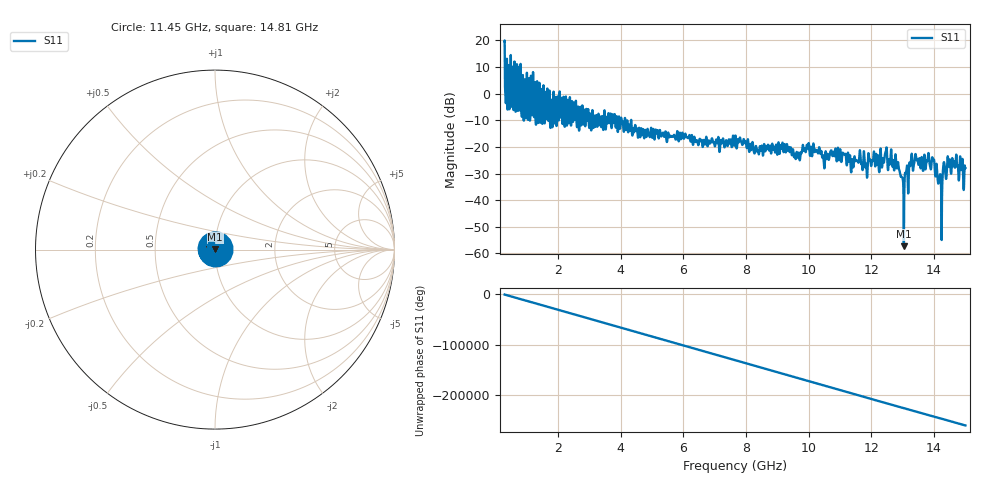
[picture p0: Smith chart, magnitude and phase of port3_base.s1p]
# GHZ S RI R 50.0
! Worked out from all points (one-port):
!   12801 points, 300 MHz to 15 GHz, reference 50 ohm
!   lowest |S11| = -57.3 dB at 13.04 GHz (marker M1), VSWR 1.00, Z = 50.1 + j0.102 ohm
!   |S11| at or under -10 dB: 4.029 GHz to 4.132 GHz (102.3 MHz wide, 2.51 % of centre); 4.148 GHz to 4.333 GHz (185.7 MHz wide, 4.38 % of centre); 4.34 GHz to end of sweep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
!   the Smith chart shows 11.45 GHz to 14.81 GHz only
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0.3  -6.546 -7.062
0.3746484  3.11 -0.579
0.3826875  -1.024 -0.158
0.4228828  -2.5 1.826
0.4309219  1.029 -0.433
0.4424063  -0.5453 0.2881
0.4481484  0.1942 0.4889
0.7524844  0.6674 1.511
0.9109687  -0.2979 -0.0907
1.202672  -1.21 0.7456
1.31407  0.1783 -0.2669
2.1375  0.0561 0.2885
3.975  0.1673 0.1533
5.8125  0.01 -0.1959
7.65  -0.056 -0.1248
9.4875  -0.0368 0.0744
9.946875  -0.1082 0.00842
11.325  0.055 0.0344
12.29543  0.0537 0.0761
12.43669  -0.0035 0.0741
12.82371  -0.0372 -0.0176
13.03732  0.000906 0.00102
13.1625  -0.0195 0.00148
13.46224  0.0327 -0.0476
14.0066  0.0394 0.0359
14.1915  0.0261 -0.0154
14.47172  0.0271 -0.0332
15  0.0395 0.00297
